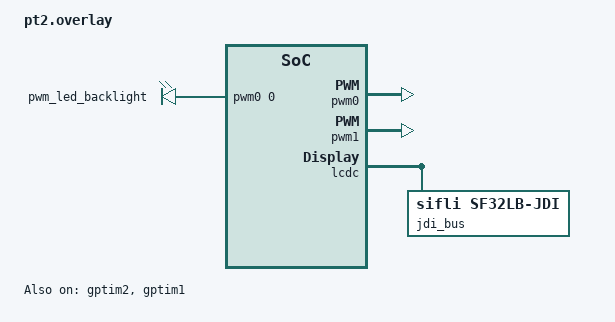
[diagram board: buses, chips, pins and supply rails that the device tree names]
/*
 * Copyright (c) 2026 Qingsong Gou <gouqs@hotmail.com>
 * SPDX-License-Identifier: Apache-2.0
 */

#include <zephyr/dt-bindings/pwm/pwm.h>
#include <zephyr/dt-bindings/pinctrl/sf32lb52x-pinctrl.h>

/ {
	chosen {
		zephyr,display = &ls013b7dh03;
	};

	pwmleds {
		compatible = "pwm-leds";

		pwm_led_backlight: pwm_led_backlight {
			pwms = <&pwm0 0 PWM_MSEC(10) PWM_POLARITY_NORMAL>;
		};
	};

	aliases {
		pwm-led0 = &pwm_led_backlight;
	};
};

&pinctrl {
	jdi_default: jdi_default {
		group1 {
			pinmux = <PA02_LCDC1_JDI_B2>,
				 <PA03_LCDC1_JDI_B1>,
				 <PA04_LCDC1_JDI_G1>,
				 <PA05_LCDC1_JDI_R1>,
				 <PA06_LCDC1_JDI_HST>,
				 <PA07_LCDC1_JDI_ENB>,
				 <PA08_LCDC1_JDI_VST>,
				 <PA39_LCDC1_JDI_VCK>,
				 <PA40_LCDC1_JDI_XRST>,
				 <PA41_LCDC1_JDI_HCK>,
				 <PA42_LCDC1_JDI_R2>,
				 <PA43_LCDC1_JDI_G2>;
			input-enable;
			input-schmitt-enable;
		};
	};

	pwm0_default: pwm0_default {
		group1 {
			pinmux = <PA01_GPTIM2_CH1>;
		};
	};

	vcom_pwm_default: vcom_pwm_default {
		group1 {
			pinmux = <PA24_GPTIM1_CH1>, <PA25_GPTIM1_CH2>;
		};
	};
};

&gptim2 {
	status = "okay";
	sifli,prescaler = <23>;

	pwm0: pwm {
		status = "okay";
		pinctrl-0 = <&pwm0_default>;
		pinctrl-names = "default";
	};
};

&gptim1 {
	status = "okay";
	sifli,prescaler = <2399>;

	pwm1: pwm {
		status = "okay";
		pinctrl-0 = <&vcom_pwm_default>;
		pinctrl-names = "default";
	};
};

&lcdc {
	status = "okay";

	jdi_bus: jdi {
		compatible = "sifli,sf32lb-jdi";
		#address-cells = <1>;
		#size-cells = <0>;
		pinctrl-0 = <&jdi_default>;
		pinctrl-names = "default";

		ls013b7dh03: ls013b7dh03@0 {
			compatible = "jdi,parallel";
			reg = <0>;
			width = <200>;
			height = <228>;

			vlcd-gpios = <&gpioa_00_31 29 GPIO_ACTIVE_HIGH>;
			vddp-gpios = <&gpioa_00_31 28 GPIO_ACTIVE_HIGH>;
			power-seq-delay-ms = <11>;
			pwms = <&pwm1 0 PWM_HZ(60) PWM_POLARITY_NORMAL>,
			       <&pwm1 1 PWM_HZ(60) PWM_POLARITY_INVERTED>;
			clock-frequency = <746268>;
			bank_col_head = <2>;
			valid-columns = <200>;
			bank_col_tail = <6>;
			bank_row_head = <0>;
			valid-rows = <228>;
			bank-row-tail = <6>;
			enb-start-col = <3>;
			enb-end-col = <99>;
		};
	};
};
